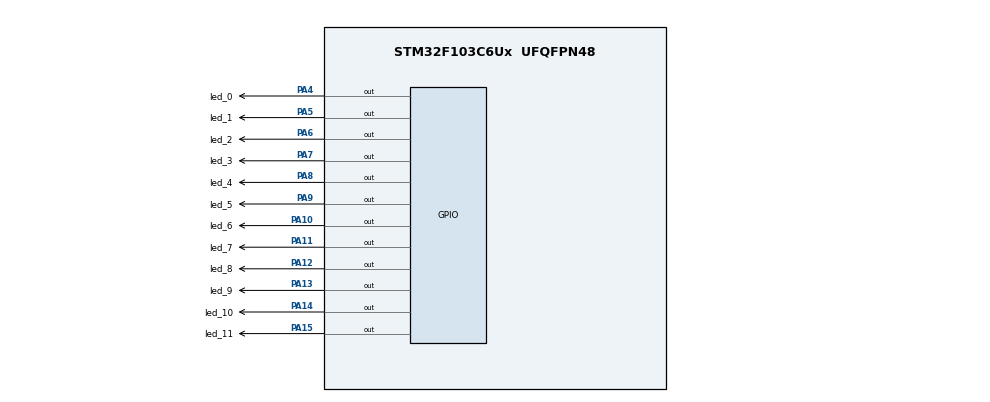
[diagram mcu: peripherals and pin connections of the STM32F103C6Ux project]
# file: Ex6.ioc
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Mcu.Family=STM32F1
Mcu.Name=STM32F103C6Ux
Mcu.Package=UFQFPN48
NVIC.PriorityGroup=NVIC_PRIORITYGROUP_4
PA10.GPIO_Label=led_6
PA10.Signal=GPIO_Output
PA11.GPIO_Label=led_7
PA11.Signal=GPIO_Output
PA12.GPIO_Label=led_8
PA12.Signal=GPIO_Output
PA13.GPIO_Label=led_9
PA13.Signal=GPIO_Output
PA14.GPIO_Label=led_10
PA14.Signal=GPIO_Output
PA15.GPIO_Label=led_11
PA15.Signal=GPIO_Output
PA4.GPIO_Label=led_0
PA4.Signal=GPIO_Output
PA5.GPIO_Label=led_1
PA5.Signal=GPIO_Output
PA6.GPIO_Label=led_2
PA6.Signal=GPIO_Output
PA7.GPIO_Label=led_3
PA7.Signal=GPIO_Output
PA8.GPIO_Label=led_4
PA8.Signal=GPIO_Output
PA9.GPIO_Label=led_5
PA9.Signal=GPIO_Output
ProjectManager.HeapSize=0x200
ProjectManager.StackSize=0x400
ProjectManager.TargetToolchain=STM32CubeIDE
RCC.APB1Freq_Value=8000000
RCC.APB2Freq_Value=8000000
VP_SYS_VS_ND.Mode=No_Debug
board=custom

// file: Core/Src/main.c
/* USER CODE BEGIN Header */
/**
  ******************************************************************************
  * @file           : main.c
  * @brief          : Main program body
  ******************************************************************************
  * @attention
  *
  * <h2><center>&copy; Copyright (c) 2022 STMicroelectronics.
  * All rights reserved.</center></h2>
  *
  * This software component is licensed by ST under BSD 3-Clause license,
  * the "License"; You may not use this file except in compliance with the
  * License. You may obtain a copy of the License at:
  *                        opensource.org/licenses/BSD-3-Clause
  *
  ******************************************************************************
  */
/* USER CODE END Header */
#include "main.h"

void SystemClock_Config(void);
static void MX_GPIO_Init(void);

/* USER CODE BEGIN 0 */
clock[12]={led_0_Pin,led_1_Pin,led_2_Pin,led_3_Pin,led_4_Pin,led_5_Pin,led_6_Pin,led_7_Pin,led_8_Pin,led_9_Pin,led_10_Pin,led_11_Pin};
/* USER CODE END 0 */

void runSec(round)
{
	switch (round)
	{
	case 0:
	HAL_GPIO_TogglePin(GPIOA, clock[0]);
	break;
	case 1:
	HAL_GPIO_TogglePin(GPIOA, clock[0]);
	HAL_GPIO_TogglePin(GPIOA, clock[1]);
	break;
	case 2:
	HAL_GPIO_TogglePin(GPIOA, clock[1]);
	HAL_GPIO_TogglePin(GPIOA, clock[2]);
	break;
	case 3:
	HAL_GPIO_TogglePin(GPIOA, clock[2]);
	HAL_GPIO_TogglePin(GPIOA, clock[3]);
	break;
	case 4:
	HAL_GPIO_TogglePin(GPIOA, clock[3]);
	HAL_GPIO_TogglePin(GPIOA, clock[4]);
	break;
	case 5:
	HAL_GPIO_TogglePin(GPIOA, clock[4]);
	HAL_GPIO_TogglePin(GPIOA, clock[5]);
	break;
	case 6:
	HAL_GPIO_TogglePin(GPIOA, clock[5]);
	HAL_GPIO_TogglePin(GPIOA, clock[6]);
	break;
	case 7:
	HAL_GPIO_TogglePin(GPIOA, clock[6]);
	HAL_GPIO_TogglePin(GPIOA, clock[7]);
	break;
	case 8:
	HAL_GPIO_TogglePin(GPIOA, clock[7]);
	HAL_GPIO_TogglePin(GPIOA, clock[8]);
	break;
	case 9:
	HAL_GPIO_TogglePin(GPIOA, clock[8]);
	HAL_GPIO_TogglePin(GPIOA, clock[9]);
	break;
	case 10:
	HAL_GPIO_TogglePin(GPIOA, clock[9]);
	HAL_GPIO_TogglePin(GPIOA, clock[10]);
	break;
	case 11:
	HAL_GPIO_TogglePin(GPIOA, clock[10]);
	HAL_GPIO_TogglePin(GPIOA, clock[11]);
	break;
	}
}
void clearAllClock()
{
	for (int i=0;i<12;i++)
	{
		HAL_GPIO_WritePin(GPIOA, clock[i],0);
	}
}
void setNumberOnClock(int num)
{
	HAL_GPIO_WritePin(GPIOA, clock[num],1);
}
void clearNumberOnClock(int num)
{
	HAL_GPIO_WritePin(GPIOA, clock[num],0);
}
int main(void)
{

  /* MCU Configuration--------------------------------------------------------*/

  /* Reset of all peripherals, Initializes the Flash interface and the Systick. */
  HAL_Init();

  /* Configure the system clock */
  SystemClock_Config();

  /* Initialize all configured peripherals */
  MX_GPIO_Init();
  /* USER CODE BEGIN 2 */
  int countsec=0;
  int minstatus=0;
  int round=0;
  int hour=0;
  /* USER CODE END 2 */
  /* Infinite loop */
  /* USER CODE BEGIN WHILE */
  while (1)
  {

	  //Reset second
	  if (round==12)
	  {
		  HAL_GPIO_TogglePin(GPIOA, clock[11]);
		  round=0;
		  countsec++;
		  if(countsec%5==0 && countsec!=0) minstatus=1; //minstatus is a flag to change minute signal
	  }
	  // Change minute signal
	  if (minstatus==1)
	  {
		if (countsec==60) //the case at minute 55
		{
			  minstatus=0;
			  HAL_GPIO_WritePin(GPIOA, clock[11],0);
		}
		else //for other minute case
		{
			  minstatus=0;
			  HAL_GPIO_WritePin(GPIOA, clock[(countsec/5)-1],0);
		}
	  }
	  runSec(round++); //run second signal
	  //Reset minute, change hour
	  if(countsec==60)
	  {
		  countsec=0; //Reset minute
		  HAL_GPIO_WritePin(GPIOA,clock[hour++], 0); //Change hour signal
	  }
	  HAL_GPIO_WritePin(GPIOA, clock[countsec/5],1); //run minute
	  if(hour==12) hour=0;//Reset hour
	  HAL_GPIO_WritePin(GPIOA, clock[hour],1); //run hour

	  HAL_Delay(50);
    /* USER CODE END WHILE */
  }
}

void SystemClock_Config(void)
{
  RCC_OscInitTypeDef RCC_OscInitStruct = {0};
  RCC_ClkInitTypeDef RCC_ClkInitStruct = {0};

  /** Initializes the RCC Oscillators according to the specified parameters
  * in the RCC_OscInitTypeDef structure.
  */
  RCC_OscInitStruct.OscillatorType = RCC_OSCILLATORTYPE_HSI;
  RCC_OscInitStruct.HSIState = RCC_HSI_ON;
  RCC_OscInitStruct.HSICalibrationValue = RCC_HSICALIBRATION_DEFAULT;
  RCC_OscInitStruct.PLL.PLLState = RCC_PLL_NONE;
  if (HAL_RCC_OscConfig(&RCC_OscInitStruct) != HAL_OK)
  {
    Error_Handler();
  }
  /** Initializes the CPU, AHB and APB buses clocks
  */
  RCC_ClkInitStruct.ClockType = RCC_CLOCKTYPE_HCLK|RCC_CLOCKTYPE_SYSCLK
                              |RCC_CLOCKTYPE_PCLK1|RCC_CLOCKTYPE_PCLK2;
  RCC_ClkInitStruct.SYSCLKSource = RCC_SYSCLKSOURCE_HSI;
  RCC_ClkInitStruct.AHBCLKDivider = RCC_SYSCLK_DIV1;
  RCC_ClkInitStruct.APB1CLKDivider = RCC_HCLK_DIV1;
  RCC_ClkInitStruct.APB2CLKDivider = RCC_HCLK_DIV1;

  if (HAL_RCC_ClockConfig(&RCC_ClkInitStruct, FLASH_LATENCY_0) != HAL_OK)
  {
    Error_Handler();
  }
}

static void MX_GPIO_Init(void)
{
  GPIO_InitTypeDef GPIO_InitStruct = {0};

  /* GPIO Ports Clock Enable */
  __HAL_RCC_GPIOA_CLK_ENABLE();

  /*Configure GPIO pin Output Level */
  HAL_GPIO_WritePin(GPIOA, led_0_Pin|led_1_Pin|led_2_Pin|led_3_Pin
                          |led_4_Pin|led_5_Pin|led_6_Pin|led_7_Pin
                          |led_8_Pin|led_9_Pin|led_10_Pin|led_11_Pin, GPIO_PIN_RESET);

  /*Configure GPIO pins : led_0_Pin led_1_Pin led_2_Pin led_3_Pin
                           led_4_Pin led_5_Pin led_6_Pin led_7_Pin
                           led_8_Pin led_9_Pin led_10_Pin led_11_Pin */
  GPIO_InitStruct.Pin = led_0_Pin|led_1_Pin|led_2_Pin|led_3_Pin
                          |led_4_Pin|led_5_Pin|led_6_Pin|led_7_Pin
                          |led_8_Pin|led_9_Pin|led_10_Pin|led_11_Pin;
  GPIO_InitStruct.Mode = GPIO_MODE_OUTPUT_PP;
  GPIO_InitStruct.Pull = GPIO_NOPULL;
  GPIO_InitStruct.Speed = GPIO_SPEED_FREQ_LOW;
  HAL_GPIO_Init(GPIOA, &GPIO_InitStruct);

}

void Error_Handler(void)
{
  __disable_irq();
  while (1)
  {
  }
}

/************************ (C) COPYRIGHT STMicroelectronics *****END OF FILE****/
